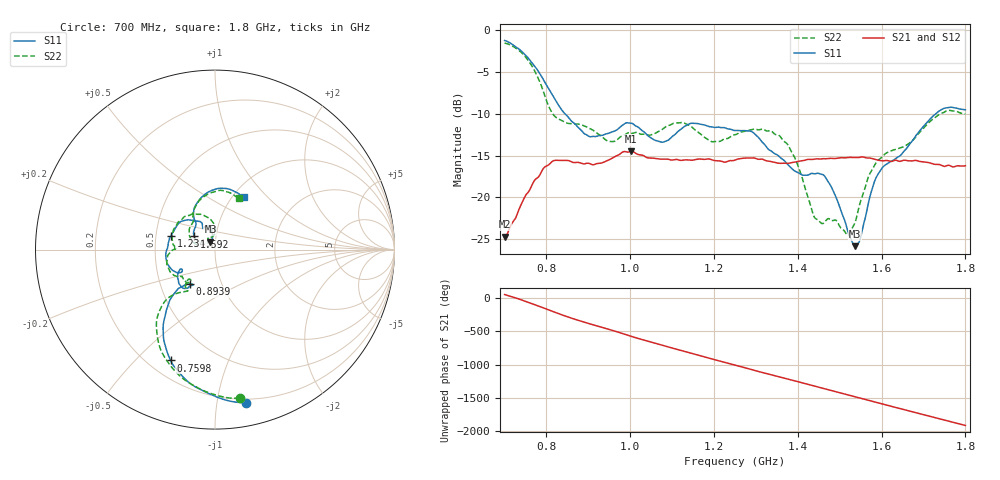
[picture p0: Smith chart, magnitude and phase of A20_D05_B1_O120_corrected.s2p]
! Created with skrf 1.9.0 (http://scikit-rf.org).
# Hz S RI R 50.0
!freq ReS11 ImS11 ReS21 ImS21 ReS12 ImS12 ReS22 ImS22
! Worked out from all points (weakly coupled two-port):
!   1601 points, 700 MHz to 1.8 GHz, reference 50 ohm
!   highest |S21| = -14.50 dB at 1.002 GHz (marker M1); lowest = -24.7 dB at 700 MHz (marker M2)
!   lowest |S11| = -25.9 dB at 1.537 GHz (marker M3), VSWR 1.11, Z = 47.4 + j4.2 ohm
!   |S11| at or under -10 dB: 844.3 MHz to 1.729 GHz (884.5 MHz wide, 68.8 % of centre)
!   |S22| runs from -24.6 to -1.5 dB; largest |S21 - S12| = 0.0035
!   S11 on the Smith chart (normalised r, x): 700 MHz: 0.17, -1.20; 759.8 MHz: 0.29, -0.64; 893.9 MHz: 0.70, -0.29; 1.234 GHz: 0.60, +0.10; 1.592 GHz: 0.78, +0.12; 1.8 GHz: 1.12, +0.74
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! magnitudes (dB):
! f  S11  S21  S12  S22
! 700 MHz  -1.2  -24.7  -24.5  -1.5
! 759.8 MHz  -3.5  -19.1  -19.0  -3.9
! 817.6 MHz  -8.0  -15.6  -15.7  -10.2
! 883.6 MHz  -12.0  -15.9  -15.8  -11.3
! 893.9 MHz  -12.5  -15.9  -16.0  -11.5
! 950.9 MHz  -12.3  -15.5  -15.5  -13.3
! 1.002 GHz  -11.1  -14.5  -14.6  -12.3
! 1.067 GHz  -13.3  -15.4  -15.4  -12.1
! 1.145 GHz  -11.1  -15.6  -15.6  -11.5
! 1.234 GHz  -11.8  -15.7  -15.7  -12.9
! 1.25 GHz  -12.0  -15.5  -15.5  -12.5
! 1.358 GHz  -15.2  -15.9  -15.9  -12.7
! 1.395 GHz  -16.9  -15.8  -15.7  -15.5
! 1.434 GHz  -17.1  -15.5  -15.4  -21.6
! 1.476 GHz  -18.4  -15.3  -15.4  -22.6
! 1.519 GHz  -24.0  -15.2  -15.3  -24.6
! 1.537 GHz  -25.9  -15.2  -15.2  -23.0
! 1.568 GHz  -20.7  -15.3  -15.3  -17.6
! 1.592 GHz  -17.2  -15.6  -15.5  -15.6
! 1.617 GHz  -15.9  -15.6  -15.6  -14.6
! 1.737 GHz  -9.7  -16.1  -16.1  -10.1
! 1.8 GHz  -9.5  -16.2  -16.2  -10.0
